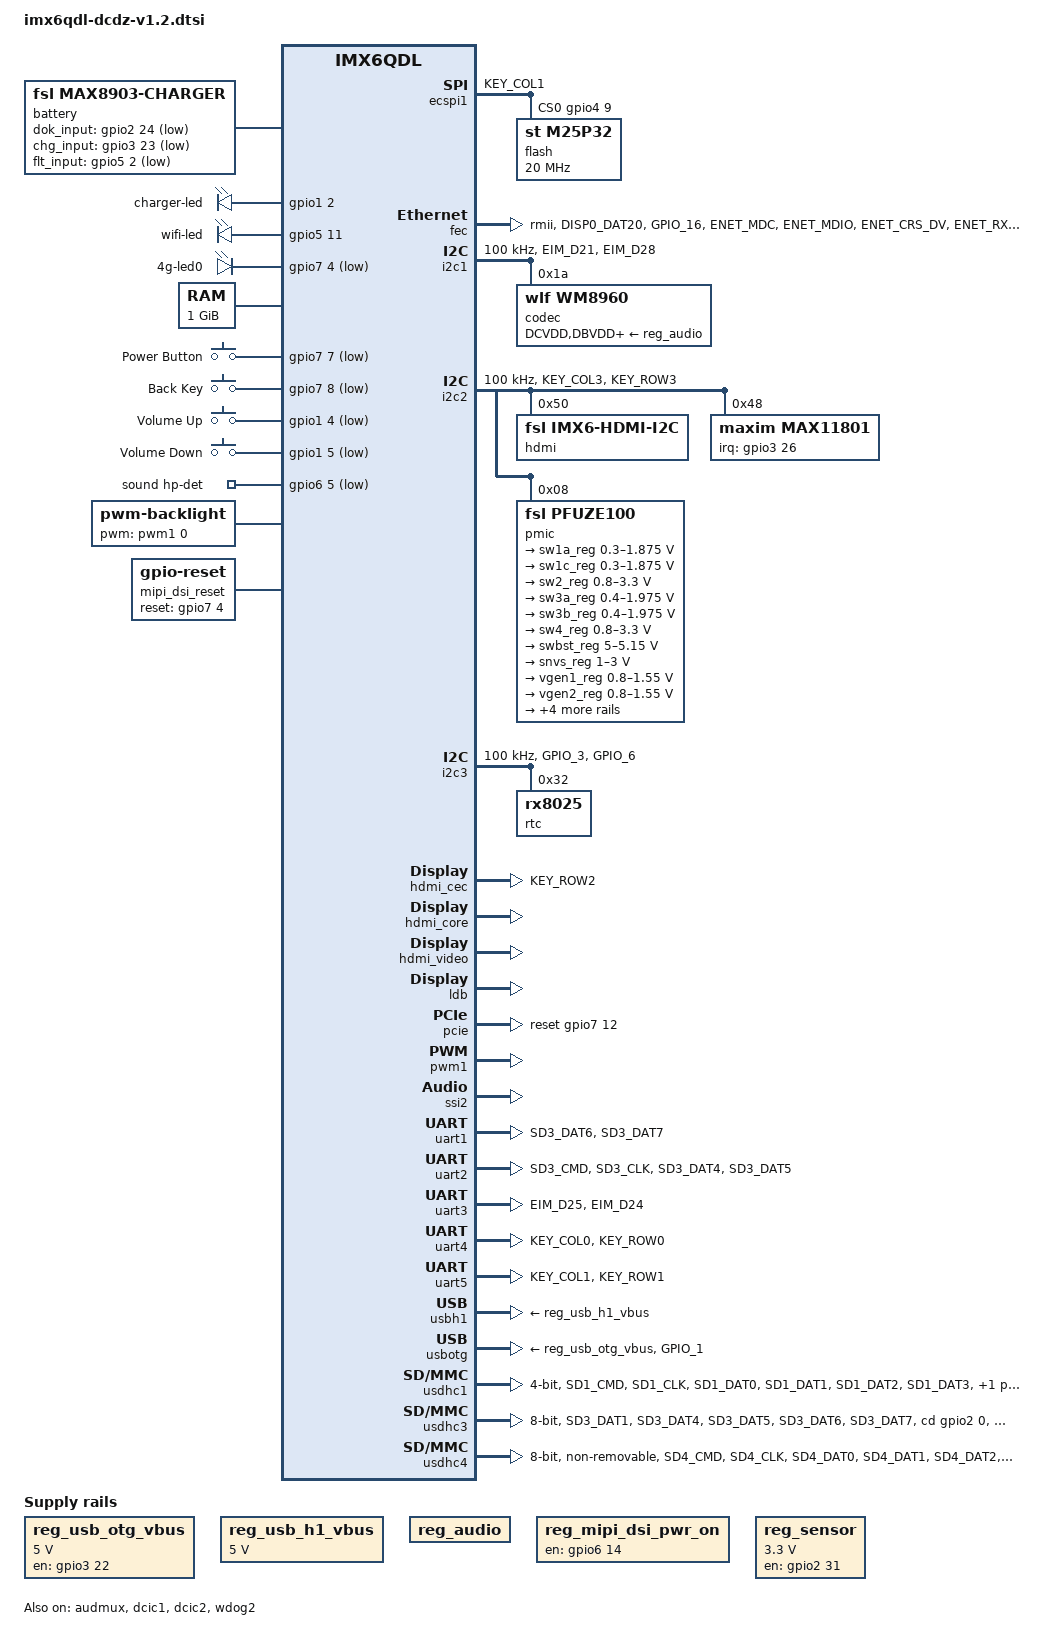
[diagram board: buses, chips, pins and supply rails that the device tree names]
/*
 * Copyright 2012 Freescale Semiconductor, Inc.
 * Copyright 2011 Linaro Ltd.
 *
 * The code contained herein is licensed under the GNU General Public
 * License. You may obtain a copy of the GNU General Public License
 * Version 2 or later at the following locations:
 *
 * http://www.opensource.org/licenses/gpl-license.html
 * http://www.gnu.org/copyleft/gpl.html
 */

#include <dt-bindings/input/input.h>

/ {
	aliases {
		mxcfb0 = &mxcfb1;
		mxcfb1 = &mxcfb2;
		mxcfb2 = &mxcfb3;
		mxcfb3 = &mxcfb4;
	};

	battery: max8903@0 {
		compatible = "fsl,max8903-charger";
		pinctrl-names = "default";
		dok_input = <&gpio2 24 1>;
		//uok_input = <&gpio1 27 1>;
		chg_input = <&gpio3 23 1>;
		flt_input = <&gpio5 2 1>;
		fsl,dcm_always_high;
		fsl,dc_valid;
		fsl,usb_valid;
		status = "okay";
	};

	hannstar_cabc {
		compatible = "hannstar,cabc";

		lvds0 {
			gpios = <&gpio6 15 GPIO_ACTIVE_HIGH>;
		};

		lvds1 {                                           /* not used */
			//gpios = <&gpio6 16 GPIO_ACTIVE_HIGH>;
			gpios = <&gpio7 12 0>;                      /* for audio */
		};
	};

	leds {
		compatible = "gpio-leds";

		charger-led {
			gpios = <&gpio1 2 0>;
			linux,default-trigger = "max8903-charger-charging";
			retain-state-suspended;
		};

		/* wifi power enable */
		wifi-led {
			gpios = <&gpio5 11 0>;
			linux,default-trigger = "max8903-charger-charging";
			retain-state-suspended;
		};
		
		/* 4G power enable */
		4g-led0 {
			gpios = <&gpio7 4 1>;
			linux,default-trigger = "max8903-charger-charging";
			retain-state-suspended;
		};
		
	};

	memory: memory {
		reg = <0x10000000 0x40000000>;
	};

	regulators {
		compatible = "simple-bus";
		#address-cells = <1>;
		#size-cells = <0>;

		reg_usb_otg_vbus: regulator@0 {
			compatible = "regulator-fixed";
			reg = <0>;
			regulator-name = "usb_otg_vbus";
			regulator-min-microvolt = <5000000>;
			regulator-max-microvolt = <5000000>;
			gpio = <&gpio3 22 0>;
			enable-active-high;
		};

		reg_usb_h1_vbus: regulator@1 {
			compatible = "regulator-fixed";
			reg = <1>;
			regulator-name = "usb_h1_vbus";
			regulator-min-microvolt = <5000000>;
			regulator-max-microvolt = <5000000>;
			//gpio = <&gpio1 13 0>;
			enable-active-high;
		};

		reg_audio: regulator@2 {
			compatible = "regulator-fixed";
			reg = <2>;
			regulator-name = "wm8960-supply";
			enable-active-high;
			//regulator-always-on;/** cp nbqt add*/
		};

		reg_mipi_dsi_pwr_on: mipi_dsi_pwr_on {
			compatible = "regulator-fixed";
			regulator-name = "mipi_dsi_pwr_on";
			gpio = <&gpio6 14 0>;
			enable-active-high;
		};

		reg_sensor: regulator@3 {
			compatible = "regulator-fixed";
			reg = <3>;
			regulator-name = "sensor-supply";
			regulator-min-microvolt = <3300000>;
			regulator-max-microvolt = <3300000>;
			gpio = <&gpio2 31 0>;
			startup-delay-us = <500>;
			enable-active-high;
		};
	};

	gpio-keys {
		compatible = "gpio-keys";
		pinctrl-names = "default";
		pinctrl-0 = <&pinctrl_gpio_keys>;
		
		power {
			label = "Power Button";
			gpios = <&gpio7 7 1>;
			gpio-key,wakeup;
			linux,code = <KEY_POWER>;
		};

		/*gpio7 8 backkey*/
		back-key {
			label = "Back Key";
			gpios = <&gpio7 8 1>;
			gpio-key,wakeup;
			linux,code = <KEY_BACK>;
		};
		
		volume-up {
			label = "Volume Up";
			gpios = <&gpio1 4 1>;
			gpio-key,wakeup;
			linux,code = <KEY_VOLUMEUP>;
		};

		volume-down {
			label = "Volume Down";
			gpios = <&gpio1 5 1>;
			gpio-key,wakeup;
			linux,code = <KEY_VOLUMEDOWN>;
		};
	};

	sound {
		compatible = "fsl,imx6q-sabresd-wm8960",
			   "fsl,imx-audio-wm8960";
		model = "wm8960-audio";
		cpu-dai = <&ssi2>;
		audio-codec = <&codec>;
		//asrc-controller = <&asrc>;
		codec-master;
		hp-det = <3 0>;
		audio-routing =	
			"Headphone Jack", "HP_L",
			"Headphone Jack", "HP_R",
			"Ext Spk", "SPK_LP",
			"Ext Spk", "SPK_RP",
			"LINPUT1", "MICB",
			"MICB", "AMIC";
		mux-int-port = <2>;
		mux-ext-port = <4>;
		hp-det-gpios = <&gpio6 5 1>;
		//mic-det-gpios = <&gpio1 2 1>;
	};


	sound-hdmi {
		compatible = "fsl,imx6q-audio-hdmi",
			   "fsl,imx-audio-hdmi";
		model = "imx-audio-hdmi";
		hdmi-controller = <&hdmi_audio>;
	};

	mxcfb1: fb@0 {
		compatible = "fsl,mxc_sdc_fb";
		disp_dev = "ldb";
		interface_pix_fmt = "RGB24";
		default_bpp = <32>;
		int_clk = <0>;
		late_init = <0>;
		status = "okay";
	};

	mxcfb2: fb@1 {
		compatible = "fsl,mxc_sdc_fb";
		disp_dev = "hdmi";
		interface_pix_fmt = "RGB24";
		mode_str ="1920x1080M@60";
		default_bpp = <32>;
		int_clk = <0>;
		late_init = <0>;
		status = "okay";
	};

	mxcfb3: fb@2 {
		compatible = "fsl,mxc_sdc_fb";
		disp_dev = "ldb";
		interface_pix_fmt = "RGB24";
		default_bpp = <32>;
		int_clk = <0>;
		late_init = <0>;
		status = "okay";
	};
/**RGB 0k*/
        mxcfb4: fb@3 {
		compatible = "fsl,mxc_sdc_fb";
		disp_dev = "lcd";
		interface_pix_fmt = "RGB24";
		mode_str ="TM070RDH13";
		default_bpp = <32>;
		int_clk = <1>;
		late_init = <0>;
		status = "okay";
	};

/** LCD MIPI */
/*
	mxcfb1: fb@0 {
		compatible = "fsl,mxc_sdc_fb";
		disp_dev = "mipi_dsi";
		interface_pix_fmt = "RGB565";
		mode_str ="TRULY-WVGA";
		default_bpp = <16>;
		int_clk = <0>;
		late_init = <0>;
		status = "okay";
	};
*/

	lcd@0 {
		compatible = "fsl,lcd";
		ipu_id = <0>;
		disp_id = <0>;
		default_ifmt = "RGB666";
		pinctrl-names = "default";
		pinctrl-0 = <&pinctrl_ipu1>;
		status = "okay";
	};

	backlight {
		compatible = "pwm-backlight";
		pwms = <&pwm1 0 5000000>;
		brightness-levels = <0 4 8 16 32 64 128 255>;
		default-brightness-level = <7>;
		status = "okay";
	};

	v4l2_cap_0 {
		compatible = "fsl,imx6q-v4l2-capture";
		ipu_id = <0>;
		csi_id = <0>;
		mclk_source = <0>;
		status = "okay";
	};

	v4l2_cap_1 {
		compatible = "fsl,imx6q-v4l2-capture";
		ipu_id = <0>;
		csi_id = <1>;
		mclk_source = <0>;
		status = "okay";
	};

	v4l2_out {
		compatible = "fsl,mxc_v4l2_output";
		status = "okay";
	};

	mipi_dsi_reset: mipi-dsi-reset {
		compatible = "gpio-reset";
		reset-gpios = <&gpio7 4 0>;
		reset-delay-us = <500000>;
		#reset-cells = <0>;
	};
};

&audmux {
	pinctrl-names = "default";
	pinctrl-0 = <&pinctrl_audmux>;
	status = "okay";
};

&cpu0 {
	arm-supply = <&sw1a_reg>;
	soc-supply = <&sw1c_reg>;
};

&clks {
	fsl,ldb-di0-parent = <&clks IMX6QDL_CLK_PLL2_PFD0_352M>;
	fsl,ldb-di1-parent = <&clks IMX6QDL_CLK_PLL2_PFD0_352M>;
};

&ecspi1 {
	fsl,spi-num-chipselects = <1>;
	cs-gpios = <&gpio4 9 0>;
	pinctrl-names = "default";
	pinctrl-0 = <&pinctrl_ecspi1>;
	status = "okay";

	flash: m25p80@0 {
		#address-cells = <1>;
		#size-cells = <1>;
		compatible = "st,m25p32";
		spi-max-frequency = <20000000>;
		reg = <0>;
	};
};

&fec {
	pinctrl-names = "default";
	pinctrl-0 = <&pinctrl_enet>;
	phy-mode = "rmii";
	phy-reset-gpios = <&gpio5 14 0>;
     	phy-reset-duration = <1>;
	fsl,magic-packet;
	status = "okay";
};

&i2c1 {
	clock-frequency = <100000>;
	pinctrl-names = "default";
	pinctrl-0 = <&pinctrl_i2c1>;
	status = "okay";

	codec: wm8960@1a {  /** sound dev */
		compatible = "wlf,wm8960";
		reg = <0x1a>;
		clocks = <&clks 201>;
//		clock-names = "mclk";  
		wlf,shared-lrclk;  
	//	clock-frequency = <12000000>;
		DCVDD-supply = <&reg_audio>;
		DBVDD-supply = <&reg_audio>;
		AVDD-supply = <&reg_audio>;
	//	CPVDD-supply = <&reg_audio>;
		MICVDD-supply = <&reg_audio>;
	//	PLLVDD-supply = <&reg_audio>;
		SPKVDD1-supply = <&reg_audio>;
		SPKVDD2-supply = <&reg_audio>;
		//amic-mono;
	
//	gpio-cfg = <
//			0x0000 /* 0:Default */
//			0x0000 /* 1:Default */
//			0x0013 /* 2:FN_DMICCLK */
//			0x0000 /* 3:Default */
//			0x8014 /* 4:FN_DMICCDAT */
//			0x0000 /* 5:Default */
//
//		>;
       };




};

&i2c2 {
	clock-frequency = <100000>;
	pinctrl-names = "default";
	pinctrl-0 = <&pinctrl_i2c2>;
	status = "okay";

	hdmi: edid@50 {
		compatible = "fsl,imx6-hdmi-i2c";
		reg = <0x50>;
	};

	max11801@48 {
		compatible = "maxim,max11801";
		reg = <0x48>;
		interrupt-parent = <&gpio3>;
		interrupts = <26 2>;
		work-mode = <1>;/*DCM mode*/
	};

	pmic: pfuze100@08 {
		compatible = "fsl,pfuze100";
		reg = <0x08>;

		regulators {
			sw1a_reg: sw1ab {
				regulator-min-microvolt = <300000>;
				regulator-max-microvolt = <1875000>;
				regulator-boot-on;
				regulator-always-on;
				regulator-ramp-delay = <6250>;
			};

			sw1c_reg: sw1c {
				regulator-min-microvolt = <300000>;
				regulator-max-microvolt = <1875000>;
				regulator-boot-on;
				regulator-always-on;
				regulator-ramp-delay = <6250>;
			};

			sw2_reg: sw2 {
				regulator-min-microvolt = <800000>;
				regulator-max-microvolt = <3300000>;
				regulator-boot-on;
				regulator-always-on;
				regulator-ramp-delay = <6250>;
			};

			sw3a_reg: sw3a {
				regulator-min-microvolt = <400000>;
				regulator-max-microvolt = <1975000>;
				regulator-boot-on;
				regulator-always-on;
			};

			sw3b_reg: sw3b {
				regulator-min-microvolt = <400000>;
				regulator-max-microvolt = <1975000>;
				regulator-boot-on;
				regulator-always-on;
			};

			sw4_reg: sw4 {
				regulator-min-microvolt = <800000>;
				regulator-max-microvolt = <3300000>;
			};

			swbst_reg: swbst {
				regulator-min-microvolt = <5000000>;
				regulator-max-microvolt = <5150000>;
			};

			snvs_reg: vsnvs {
				regulator-min-microvolt = <1000000>;
				regulator-max-microvolt = <3000000>;
				regulator-boot-on;
				regulator-always-on;
			};

			vref_reg: vrefddr {
				regulator-boot-on;
				regulator-always-on;
			};

			vgen1_reg: vgen1 {
				regulator-min-microvolt = <800000>;
				regulator-max-microvolt = <1550000>;
			};

			vgen2_reg: vgen2 {
				regulator-min-microvolt = <800000>;
				regulator-max-microvolt = <1550000>;
			};

			vgen3_reg: vgen3 {
				regulator-min-microvolt = <1800000>;
				regulator-max-microvolt = <3300000>;
			};

			vgen4_reg: vgen4 {
				regulator-min-microvolt = <1800000>;
				regulator-max-microvolt = <3300000>;
				regulator-always-on;
			};

			vgen5_reg: vgen5 {
				regulator-min-microvolt = <1800000>;
				regulator-max-microvolt = <3300000>;
				regulator-always-on;
			};

			vgen6_reg: vgen6 {
				regulator-min-microvolt = <1800000>;
				regulator-max-microvolt = <3300000>;
				regulator-always-on;
			};
		};
	};


};

&i2c3 {
	clock-frequency = <100000>;
	pinctrl-names = "default";
	pinctrl-0 = <&pinctrl_i2c3>;
	status = "okay";

        rtc:rtc@30{
		    compatible = "rx8025";
		    reg = <0x32>;

	};

};

&iomuxc {
	pinctrl-names = "default";
	pinctrl-0 = <&pinctrl_hog>;

	imx6qdl-sabresd {
		pinctrl_hog: hoggrp {
			fsl,pins = <
				MX6QDL_PAD_NANDF_D0__GPIO2_IO00 0x80000000
				MX6QDL_PAD_NANDF_D1__GPIO2_IO01 0x80000000
				MX6QDL_PAD_NANDF_D2__GPIO2_IO02 0x80000000
				MX6QDL_PAD_NANDF_D3__GPIO2_IO03 0x80000000
				MX6QDL_PAD_GPIO_0__CCM_CLKO1    0x130b0
				MX6QDL_PAD_NANDF_CLE__GPIO6_IO07 0x80000000
				MX6QDL_PAD_NANDF_ALE__GPIO6_IO08 0x80000000
		
				MX6QDL_PAD_EIM_D22__GPIO3_IO22  0x80000000

				MX6QDL_PAD_EIM_D26__GPIO3_IO26 0x80000000
				MX6QDL_PAD_EIM_CS1__GPIO2_IO24 0x80000000
		
				MX6QDL_PAD_EIM_A25__GPIO5_IO02 0x80000000
				MX6QDL_PAD_EIM_D23__GPIO3_IO23 0x80000000
				MX6QDL_PAD_EIM_EB3__GPIO2_IO31 0x80000000
				// MX6QDL_PAD_SD1_CMD__GPIO1_IO18 0x80000000

                MX6QDL_PAD_SD3_DAT2__GPIO7_IO6 0x80000000
                //MX6QDL_PAD_SD2_DAT2__GPIO1_IO13  0x80000000
				MX6QDL_PAD_EIM_D16__GPIO3_IO16 0x80000000
				MX6QDL_PAD_GPIO_9__GPIO1_IO09 	0x80000000
				MX6QDL_PAD_EIM_DA9__GPIO3_IO09 0x80000000
				MX6QDL_PAD_GPIO_1__WDOG2_B 0x80000000
				MX6QDL_PAD_NANDF_CS0__GPIO6_IO11 0x80000000
				MX6QDL_PAD_NANDF_CS1__GPIO6_IO14 0x80000000
				MX6QDL_PAD_NANDF_CS2__GPIO6_IO15 0x80000000
				MX6QDL_PAD_NANDF_CS3__GPIO6_IO16 0x80000000
                                     /* usb */
				MX6QDL_PAD_KEY_COL2__GPIO4_IO10            0x80000000
                                     /*    nbqt ts  */
				
				
                                     /*    nbqt mipi display io  */
				MX6QDL_PAD_GPIO_1__PWM2_OUT                0x80000000
				MX6QDL_PAD_CSI0_DAT18__GPIO6_IO04          0x80000000
				
				/* gpio */
				MX6QDL_PAD_GPIO_17__GPIO7_IO12       0x80000000
				
				/* audio SPK_IN_DET */
				MX6QDL_PAD_CSI0_DAT19__GPIO6_IO05    0x80000000
				/* 4g power */
				MX6QDL_PAD_SD3_DAT0__GPIO7_IO04      0x80000000
				/* wifi power */
				MX6QDL_PAD_DISP0_DAT17__GPIO5_IO11  0x80000000
				
				/* gpio 4in 4out */
				/* in */
				MX6QDL_PAD_CSI0_DAT8__GPIO5_IO26     0x80000000
				MX6QDL_PAD_CSI0_DAT9__GPIO5_IO27     0x80000000
				MX6QDL_PAD_CSI0_DAT10__GPIO5_IO28    0x80000000
				MX6QDL_PAD_CSI0_DAT11__GPIO5_IO29    0x80000000
				/* out */
				MX6QDL_PAD_CSI0_DAT14__GPIO6_IO00     0x80000000
				MX6QDL_PAD_CSI0_DAT15__GPIO6_IO01     0x80000000
				MX6QDL_PAD_CSI0_DAT16__GPIO6_IO02     0x80000000
				MX6QDL_PAD_CSI0_DAT17__GPIO6_IO03     0x80000000			
			>;
		};

		pinctrl_audmux: audmuxgrp {
			fsl,pins = <
			
				MX6QDL_PAD_SD2_DAT0__AUD4_RXD		0x130b0   
				MX6QDL_PAD_SD2_DAT3__AUD4_TXC		0x130b0   
                MX6QDL_PAD_SD2_DAT2__AUD4_TXD		0x110b0   
                MX6QDL_PAD_SD2_DAT1__AUD4_TXFS		0x130b0   

			//	MX6QDL_PAD_GPIO_2__GPIO1_IO02		0x80000000
			//	MX6QDL_PAD_GPIO_16__GPIO7_IO11		0x80000000
	               >;
		};

		pinctrl_ecspi1: ecspi1grp {
			fsl,pins = <
				MX6QDL_PAD_KEY_COL1__ECSPI1_MISO	0x100b1
//				MX6QDL_PAD_KEY_ROW0__ECSPI1_MOSI	0x100b1
//				MX6QDL_PAD_KEY_COL0__ECSPI1_SCLK	0x100b1
			>;
		};

		pinctrl_enet: enetgrp {
			fsl,pins = <
				MX6QDL_PAD_DISP0_DAT20__GPIO5_IO14        0x80000000
				//MX6QDL_PAD_ENET_REF_CLK__ENET_TX_CLK      0x1b0b0

				MX6QDL_PAD_GPIO_16__ENET_REF_CLK          0x4001b0a1
				MX6QDL_PAD_ENET_MDC__ENET_MDC             0x1b0a8//
				MX6QDL_PAD_ENET_MDIO__ENET_MDIO           0x1b0a8//
				
				MX6QDL_PAD_ENET_CRS_DV__ENET_RX_EN        0x1b0a8//
				MX6QDL_PAD_ENET_RX_ER__ENET_RX_ER         0x1b0a8//
				MX6QDL_PAD_ENET_TX_EN__ENET_TX_EN         0x1b0a8//

				MX6QDL_PAD_ENET_RXD0__ENET_RX_DATA0       0x1b0a8//
				MX6QDL_PAD_ENET_RXD1__ENET_RX_DATA1       0x1b0a8//
				MX6QDL_PAD_ENET_TXD0__ENET_TX_DATA0       0x1b0a8//
				MX6QDL_PAD_ENET_TXD1__ENET_TX_DATA1       0x1b0a8//
					
>;
		};

		pinctrl_gpio_keys: gpio_keysgrp {
			fsl,pins = <
				MX6QDL_PAD_SD3_RST__GPIO7_IO08    0x80000000
				MX6QDL_PAD_SD3_DAT3__GPIO7_IO07   0x80000000
			/*	MX6QDL_PAD_EIM_D29__GPIO3_IO29    0x80000000
				MX6QDL_PAD_GPIO_4__GPIO1_IO04     0x80000000
				MX6QDL_PAD_GPIO_5__GPIO1_IO05     0x80000000*/
			>;
		};
/********    2   ***** *********/

		pinctrl_hdmi_cec: hdmicecgrp {
			fsl,pins = <
				MX6QDL_PAD_KEY_ROW2__HDMI_TX_CEC_LINE 0x1f8b0
			>;
		};

		pinctrl_hdmi_hdcp: hdmihdcpgrp {
			fsl,pins = <
				MX6QDL_PAD_KEY_COL3__HDMI_TX_DDC_SCL 0x4001b8b1
				MX6QDL_PAD_KEY_ROW3__HDMI_TX_DDC_SDA 0x4001b8b1
			>;
		};

		pinctrl_i2c1: i2c1grp {
			fsl,pins = <
				MX6QDL_PAD_EIM_D21__I2C1_SCL		0x4001b8b1
				MX6QDL_PAD_EIM_D28__I2C1_SDA		0x4001b8b1
			>;
		};

		pinctrl_i2c2: i2c2grp {
			fsl,pins = <
				MX6QDL_PAD_KEY_COL3__I2C2_SCL		0x4001b8b1
				MX6QDL_PAD_KEY_ROW3__I2C2_SDA		0x4001b8b1
			 >;
		};

		pinctrl_i2c3: i2c3grp {
			fsl,pins = <
				MX6QDL_PAD_GPIO_3__I2C3_SCL		0x4001b8b1
				MX6QDL_PAD_GPIO_6__I2C3_SDA		0x4001b8b1
			>;
		};

		pinctrl_ipu1: ipu1grp {
			fsl,pins = <
				MX6QDL_PAD_DI0_DISP_CLK__IPU1_DI0_DISP_CLK 0x10
				MX6QDL_PAD_DI0_PIN15__IPU1_DI0_PIN15       0x10
				MX6QDL_PAD_DI0_PIN2__IPU1_DI0_PIN02        0x10
				MX6QDL_PAD_DI0_PIN3__IPU1_DI0_PIN03        0x10
				MX6QDL_PAD_DI0_PIN4__IPU1_DI0_PIN04        0x80000000
				MX6QDL_PAD_DISP0_DAT0__IPU1_DISP0_DATA00   0x10
				MX6QDL_PAD_DISP0_DAT1__IPU1_DISP0_DATA01   0x10
				MX6QDL_PAD_DISP0_DAT2__IPU1_DISP0_DATA02   0x10
				MX6QDL_PAD_DISP0_DAT3__IPU1_DISP0_DATA03   0x10
				MX6QDL_PAD_DISP0_DAT4__IPU1_DISP0_DATA04   0x10
				MX6QDL_PAD_DISP0_DAT5__IPU1_DISP0_DATA05   0x10
				MX6QDL_PAD_DISP0_DAT6__IPU1_DISP0_DATA06   0x10
				MX6QDL_PAD_DISP0_DAT7__IPU1_DISP0_DATA07   0x10
				MX6QDL_PAD_DISP0_DAT8__IPU1_DISP0_DATA08   0x10
				MX6QDL_PAD_DISP0_DAT9__IPU1_DISP0_DATA09   0x10
				MX6QDL_PAD_DISP0_DAT10__IPU1_DISP0_DATA10  0x10
				MX6QDL_PAD_DISP0_DAT11__IPU1_DISP0_DATA11  0x10
				MX6QDL_PAD_DISP0_DAT12__IPU1_DISP0_DATA12  0x10
				MX6QDL_PAD_DISP0_DAT13__IPU1_DISP0_DATA13  0x10
				MX6QDL_PAD_DISP0_DAT14__IPU1_DISP0_DATA14  0x10
				MX6QDL_PAD_DISP0_DAT15__IPU1_DISP0_DATA15  0x10
				MX6QDL_PAD_DISP0_DAT16__IPU1_DISP0_DATA16  0x10
				MX6QDL_PAD_DISP0_DAT18__IPU1_DISP0_DATA18  0x10
				MX6QDL_PAD_DISP0_DAT19__IPU1_DISP0_DATA19  0x10

				MX6QDL_PAD_DISP0_DAT21__IPU1_DISP0_DATA21  0x10
				MX6QDL_PAD_DISP0_DAT22__IPU1_DISP0_DATA22  0x10
				MX6QDL_PAD_DISP0_DAT23__IPU1_DISP0_DATA23  0x10
			>;
		};

		pinctrl_ipu1_2: ipu1grp-2 { /* parallel camera */
			fsl,pins = <
			>;
		};

		pinctrl_pwm1: pwm1grp {
			fsl,pins = <
				//MX6QDL_PAD_SD1_DAT3__PWM1_OUT		0x1b0b1
			>;
		};

		pinctrl_uart1: uart1grp {
			fsl,pins = <
				MX6QDL_PAD_SD3_DAT6__UART1_RX_DATA	0x1b0b1
				MX6QDL_PAD_SD3_DAT7__UART1_TX_DATA	0x1b0b1
			>;
		};

		pinctrl_uart2: uart2grp {
			fsl,pins = <
				MX6QDL_PAD_SD3_CMD__UART2_CTS_B     0x1b0b1
				MX6QDL_PAD_SD3_CLK__UART2_RTS_B     0x1b0b1
				MX6QDL_PAD_SD3_DAT4__UART2_RX_DATA	0x1b0b1
				MX6QDL_PAD_SD3_DAT5__UART2_TX_DATA	0x1b0b1
			>;
		};

		pinctrl_uart3: uart3grp {
			fsl,pins = <
				MX6QDL_PAD_EIM_D25__UART3_RX_DATA	0x1b0b1
				MX6QDL_PAD_EIM_D24__UART3_TX_DATA	0x1b0b1
			>;
		};

		pinctrl_uart4: uart4grp {
			fsl,pins = <
				MX6QDL_PAD_KEY_COL0__UART4_TX_DATA	0x1b0b1
                MX6QDL_PAD_KEY_ROW0__UART4_RX_DATA	0x1b0b1
			>;
		};

		pinctrl_uart5: uart5grp {
			fsl,pins = <
				MX6QDL_PAD_KEY_COL1__UART5_TX_DATA	0x1b0b1
				MX6QDL_PAD_KEY_ROW1__UART5_RX_DATA	0x1b0b1
			>;
		};

		pinctrl_usbotg: usbotggrp {
			fsl,pins = <
  				MX6QDL_PAD_GPIO_1__USB_OTG_ID    0x17059
			>;   
		};




                         
       pinctrl_usdhc1: usdhc1grp {
           fsl,pins = <
                MX6QDL_PAD_SD1_CMD__SD1_CMD     0x17059
                MX6QDL_PAD_SD1_CLK__SD1_CLK     0x10059
                MX6QDL_PAD_SD1_DAT0__SD1_DATA0      0x17059
                MX6QDL_PAD_SD1_DAT1__SD1_DATA1      0x17059
                MX6QDL_PAD_SD1_DAT2__SD1_DATA2      0x17059
                MX6QDL_PAD_SD1_DAT3__SD1_DATA3      0x17059
                
                
                
            
             >;
          };

		pinctrl_usdhc2: usdhc2grp {
			fsl,pins = <
			//	MX6QDL_PAD_SD2_CMD__SD2_CMD		0x17059
			//	MX6QDL_PAD_SD2_CLK__SD2_CLK		0x10059
			//	MX6QDL_PAD_SD2_DAT0__SD2_DATA0		0x17059
			//	MX6QDL_PAD_SD2_DAT1__SD2_DATA1		0x17059
			//	MX6QDL_PAD_SD2_DAT2__SD2_DATA2		0x17059
			//	MX6QDL_PAD_SD2_DAT3__SD2_DATA3		0x17059
			//	MX6QDL_PAD_NANDF_D4__SD2_DATA4		0x17059
			//	MX6QDL_PAD_NANDF_D5__SD2_DATA5		0x17059
			//	MX6QDL_PAD_NANDF_D6__SD2_DATA6		0x17059
			//	MX6QDL_PAD_NANDF_D7__SD2_DATA7		0x17059
			>;
		};

		pinctrl_usdhc3: usdhc3grp {
			fsl,pins = <
				//MX6QDL_PAD_SD3_CMD__SD3_CMD		0x17059
				//MX6QDL_PAD_SD3_CLK__SD3_CLK		0x10059
				//MX6QDL_PAD_SD3_DAT0__SD3_DATA0		0x17059
				MX6QDL_PAD_SD3_DAT1__SD3_DATA1		0x17059
//				MX6QDL_PAD_SD3_DAT2__SD3_DATA2		0x17059
//				MX6QDL_PAD_SD3_DAT3__SD3_DATA3		0x17059
				MX6QDL_PAD_SD3_DAT4__SD3_DATA4		0x17059
				MX6QDL_PAD_SD3_DAT5__SD3_DATA5		0x17059
				MX6QDL_PAD_SD3_DAT6__SD3_DATA6		0x17059
				MX6QDL_PAD_SD3_DAT7__SD3_DATA7		0x17059
			>;
		};

		pinctrl_usdhc4: usdhc4grp {
			fsl,pins = <
				MX6QDL_PAD_SD4_CMD__SD4_CMD		0x17059
				MX6QDL_PAD_SD4_CLK__SD4_CLK		0x10059
				MX6QDL_PAD_SD4_DAT0__SD4_DATA0		0x17059
				MX6QDL_PAD_SD4_DAT1__SD4_DATA1		0x17059
				MX6QDL_PAD_SD4_DAT2__SD4_DATA2		0x17059
				MX6QDL_PAD_SD4_DAT3__SD4_DATA3		0x17059
				MX6QDL_PAD_SD4_DAT4__SD4_DATA4		0x17059
				MX6QDL_PAD_SD4_DAT5__SD4_DATA5		0x17059
				MX6QDL_PAD_SD4_DAT6__SD4_DATA6		0x17059
				MX6QDL_PAD_SD4_DAT7__SD4_DATA7		0x17059
			>;
		};

	};
};

&dcic1 {
	dcic_id = <0>;
	dcic_mux = "dcic-hdmi";
	status = "okay";
};

&dcic2 {
	dcic_id = <1>;
	dcic_mux = "dcic-lvds1";
	status = "okay";
};

&gpc {
	/* use ldo-bypass, u-boot will check it and configure */
	fsl,ldo-bypass = <1>;
	fsl,wdog-reset = <2>;
};

/*
&hdmi_audio {
	status = "okay";
};
*/

/***********  1  *************/
&hdmi_cec {
	pinctrl-names = "default";
	pinctrl-0 = <&pinctrl_hdmi_cec>;
	status = "okay";
};

&hdmi_core {
	ipu_id = <0>;
	disp_id = <1>;
	status = "okay";
};

&hdmi_video {
	fsl,phy_reg_vlev = <0x0294>;
	fsl,phy_reg_cksymtx = <0x800d>;
	status = "okay";
};

&ldb {
	status = "okay";

/*    ********* lvds ok ************/
	lvds-channel@0 {
		fsl,data-mapping = "spwg";
		fsl,data-width = <24>;
		primary;
	//	ipu_id = <0>;
	//	disp_id = <1>;
		status = "okay";

		display-timings {
			native-mode = <&timing0>;
			timing0: hsd100pxn1 {
				clock-frequency = <71100000>;
				hactive = <1280>;
				vactive = <800>;
				hback-porch = <78>;
				hfront-porch = <79>;
				vback-porch = <10>;
				vfront-porch = <10>;
				hsync-len = <3>;
				vsync-len = <3>;
			};
		};
	};

	lvds-channel@1 {
		fsl,data-mapping = "spwg";
		fsl,data-width = <18>;
		primary;
		status = "okay";
		/*status = "disabled";*/
		display-timings {
			native-mode = <&timing1>;
			timing1: hsd100pxn1 {
				clock-frequency = <65000000>;
				hactive = <1024>;
				vactive = <768>;
				hback-porch = <220>;
				hfront-porch = <40>;
				vback-porch = <21>;
				vfront-porch = <7>;
				hsync-len = <60>;
				vsync-len = <10>;
			};
		};
	};
};

&mipi_csi {
	status = "disabled";
	ipu_id = <0>;
	csi_id = <1>;
	v_channel = <0>;
	lanes = <2>;
};

&mipi_dsi {
	ipu_id = <1>;
	dev_id = <0>;
	/*disp_id = <1>;*/
	disp_id = <0>;
	/*lcd_panel = "BP101WX1-600";*/
	lcd_panel = "TRULY-WVGA";
	disp-power-on-supply = <&reg_mipi_dsi_pwr_on>;
	resets = <&mipi_dsi_reset>;
	status = "disabled";
};

&pcie {
	power-on-gpio = <&gpio7 4 0>;
	reset-gpio = <&gpio7 12 0>;
	status = "okay";
};

&pwm1 {
	pinctrl-names = "default";
	pinctrl-0 = <&pinctrl_pwm1>;
	status = "okay";
};

&ssi2 {
	fsl,mode = "i2s-slave";
	status = "okay";
};

&uart1 {
	pinctrl-names = "default";
	pinctrl-0 = <&pinctrl_uart1>;
	status = "okay";
};

&uart2 {
	pinctrl-names = "default";
	pinctrl-0 = <&pinctrl_uart2>;
	status = "okay";
};

&uart3 {
	pinctrl-names = "default";
	pinctrl-0 = <&pinctrl_uart3>;
	status = "okay";
};

&uart4 {
	pinctrl-names = "default";
	pinctrl-0 = <&pinctrl_uart4>;
	status = "okay";
};

&uart5 {
	pinctrl-names = "default";
	pinctrl-0 = <&pinctrl_uart5>;
	status = "okay";
};


&usbh1 {
	vbus-supply = <&reg_usb_h1_vbus>;
	status = "okay";
};

&usbotg {
	vbus-supply = <&reg_usb_otg_vbus>;
	pinctrl-names = "default";
	pinctrl-0 = <&pinctrl_usbotg>;
	disable-over-current;
	srp-disable;
	hnp-disable;
	adp-disable;
	status = "okay";
};


 &usdhc1 {
    pinctrl-names = "default";
    pinctrl-0 = <&pinctrl_usdhc1>;
    bus-width = <4>;
    cd-gpios = <&gpio7 6 0>;
  //  wp-gpios = <&gpio2 3 0>;
    no-1-8-v;
    keep-power-in-suspend;
    enable-sdio-wakeup;
    status = "okay";
};






&usdhc3 {
	pinctrl-names = "default";
	pinctrl-0 = <&pinctrl_usdhc3>;
	bus-width = <8>;
	cd-gpios = <&gpio2 0 0>;
	wp-gpios = <&gpio2 1 0>;
	no-1-8-v;
	keep-power-in-suspend;
	enable-sdio-wakeup;
	status = "okay";
};

&usdhc4 {
	pinctrl-names = "default";
	pinctrl-0 = <&pinctrl_usdhc4>;
	bus-width = <8>;
	non-removable;
	no-1-8-v;
	keep-power-in-suspend;
	status = "okay";
};

&wdog1 {
	status = "disabled";
};

&wdog2 {
	status = "okay";
};
